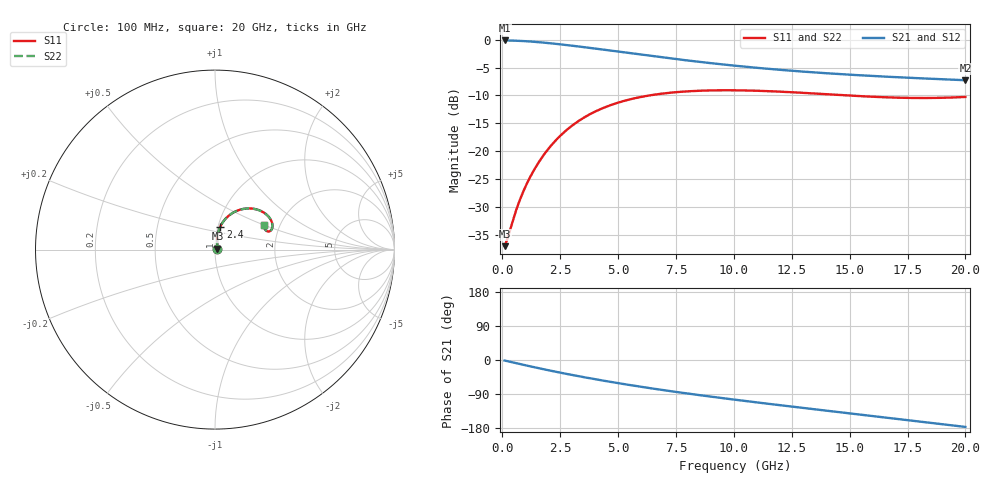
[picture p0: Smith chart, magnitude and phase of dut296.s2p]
! Created with skrf 1.9.0 (http://scikit-rf.org).
# GHz S RI R 50.0
!freq ReS11 ImS11 ReS21 ImS21 ReS12 ImS12 ReS22 ImS22
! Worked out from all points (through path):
!   200 points, 100 MHz to 20 GHz, reference 50 ohm
!   highest |S21| = -0.12 dB at 100 MHz (marker M1); lowest = -7.3 dB at 20 GHz (marker M2)
!   group delay of S21, straight-line fit = 23.3 ps
!   lowest |S11| = -37.1 dB at 100 MHz (marker M3), VSWR 1.03, Z = 51.3 + j0.451 ohm
!   |S11| at or under -10 dB: start of sweep to 6.341 GHz; 14.95 GHz to end of sweep
!   |S22| runs from -37.1 to -9.1 dB; largest |S21 - S12| = 2.7e-15
!   S11 on the Smith chart (normalised r, x): 100 MHz: 1.03, +0.01; 2.4 GHz: 1.02, +0.27; 20 GHz: 1.65, +0.51
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0.1  0.0133 0.00439  0.9862 -0.0244  0.9862 -0.0244  0.0133 0.00439
0.2  0.0133 0.00872  0.9848 -0.0486  0.9848 -0.0486  0.0133 0.00872
0.5  0.0128 0.0221  0.9753 -0.1205  0.9753 -0.1205  0.0128 0.0221
0.7  0.0125 0.0315  0.9647 -0.1672  0.9647 -0.1672  0.0125 0.0315
1.1  0.0123 0.0517  0.9343 -0.2561  0.9343 -0.2561  0.0123 0.0517
1.4  0.0132 0.0682  0.9045 -0.3178  0.9045 -0.3178  0.0132 0.0682
1.7  0.0156 0.0856  0.8698 -0.3746  0.8698 -0.3746  0.0156 0.0856
2.4  0.0291 0.1276  0.7753 -0.4871  0.7753 -0.4871  0.0291 0.1276
2.9  0.0458 0.1559  0.7007 -0.5504  0.7007 -0.5504  0.0458 0.1559
3.5  0.0722 0.1851  0.6078 -0.6091  0.6078 -0.6091  0.0722 0.1851
4.2  0.1088 0.21  0.4992 -0.6561  0.4992 -0.6561  0.1088 0.21
5  0.1531 0.2257  0.3798 -0.6859  0.3798 -0.6859  0.1531 0.2257
5.9  0.2001 0.2291  0.2555 -0.6951  0.2555 -0.6951  0.2001 0.2291
6.8  0.2403 0.2212  0.1445 -0.6853  0.1445 -0.6853  0.2403 0.2212
8.4  0.2902 0.192  -0.0196 -0.6374  -0.0196 -0.6374  0.2902 0.192
10.1  0.3156 0.1558  -0.1529 -0.5636  -0.1529 -0.5636  0.3156 0.1558
11.7  0.3201 0.1273  -0.248 -0.4842  -0.248 -0.4842  0.3201 0.1273
13.4  0.3123 0.1077  -0.3243 -0.3947  -0.3243 -0.3947  0.3123 0.1077
15  0.2992 0.1009  -0.3769 -0.3073  -0.3769 -0.3073  0.2992 0.1009
16.7  0.285 0.1055  -0.4143 -0.2119  -0.4143 -0.2119  0.285 0.1055
18.4  0.2752 0.1201  -0.4328 -0.1153  -0.4328 -0.1153  0.2752 0.1201
20  0.2731 0.1398  -0.4328 -0.0256  -0.4328 -0.0256  0.2731 0.1398
